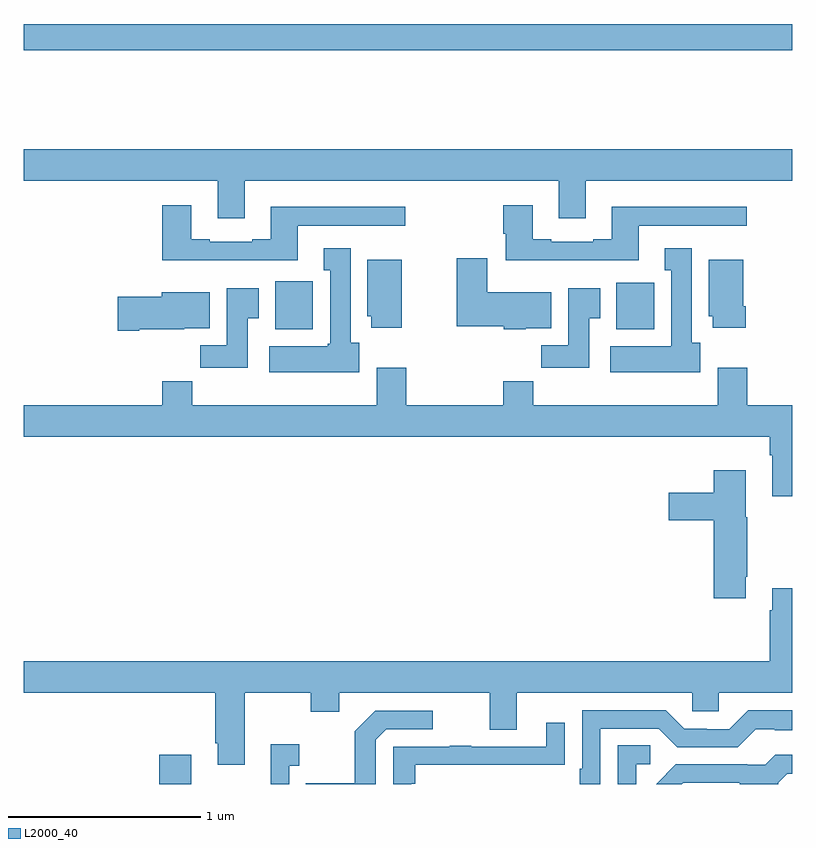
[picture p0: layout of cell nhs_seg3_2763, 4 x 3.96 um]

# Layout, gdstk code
import gdstk
lib = gdstk.Library(unit=1e-6, precision=1e-09)
def R(c, l, rs):  # rectangles x0, y0, x1, y1
    for r in rs: c.add(gdstk.rectangle(r[:2], r[2:], *l))
def P(c, l, *ps):  # polygons
    for p in ps: c.add(gdstk.Polygon(p, *l))
L2000_40 = (2000, 40)

nhs_seg3_2763 = lib.new_cell('nhs_seg3_2763')
R(nhs_seg3_2763, L2000_40, [(253.706,740.4,253.873,740.551), (254.309,742.766,254.505,743.017), (256.085,742.766,256.282,743.008), (253,744.22,257,744.356)])
P(nhs_seg3_2763, L2000_40, [(254.149,743.54),(255.785,743.54),(255.785,743.346),(255.925,743.346),(255.925,743.54),(257,743.54),(257,743.704),(253,743.704),(253,743.54),(254.009,743.54),(254.009,743.346),(254.149,743.346)],
  [(254.425,743.307),(254.986,743.307),(254.986,743.404),(254.285,743.404),(254.285,743.236),(254.189,743.236),(254.189,743.223),(253.969,743.223),(253.969,743.236),(253.873,743.236),(253.873,743.413),(253.721,743.413),(253.721,743.126),(254.425,743.126)],
  [(256.201,743.307),(256.762,743.307),(256.762,743.404),(256.061,743.404),(256.061,743.236),(255.965,743.236),(255.965,743.223),(255.745,743.223),(255.745,743.236),(255.649,743.236),(255.649,743.413),(255.497,743.413),(255.497,743.265),(255.509,743.265),(255.509,743.126),(256.201,743.126)],
  [(256.522,742.698),(256.477,742.698),(256.477,743.188),(256.337,743.188),(256.337,743.075),(256.37,743.075),(256.37,742.678),(256.053,742.678),(256.053,742.544),(256.522,742.544)],
  [(254.746,742.698),(254.701,742.698),(254.701,743.188),(254.561,743.188),(254.561,743.075),(254.594,743.075),(254.594,742.692),(254.581,742.692),(254.581,742.678),(254.277,742.678),(254.277,742.544),(254.746,742.544)],
  [(255.612,742.772),(255.745,742.772),(255.745,742.96),(255.412,742.96),(255.412,743.137),(255.254,743.137),(255.254,742.784),(255.498,742.784),(255.498,742.766),(255.612,742.766)],
  [(256.757,742.888),(256.744,742.888),(256.744,743.128),(256.565,743.128),(256.565,742.836),(256.586,742.836),(256.586,742.776),(256.757,742.776)],
  [(254.968,743.128),(254.789,743.128),(254.789,742.836),(254.81,742.836),(254.81,742.776),(254.968,742.776)],
  [(255.943,742.825),(256,742.825),(256,742.981),(255.833,742.981),(255.833,742.684),(255.694,742.684),(255.694,742.566),(255.943,742.566)],
  [(254.167,742.825),(254.224,742.825),(254.224,742.981),(254.057,742.981),(254.057,742.684),(253.918,742.684),(253.918,742.566),(254.167,742.566)],
  [(253.6,742.766),(253.836,742.766),(253.836,742.772),(253.969,742.772),(253.969,742.96),(253.718,742.96),(253.718,742.937),(253.488,742.937),(253.488,742.759),(253.6,742.759)],
  [(257,742.372),(256.766,742.372),(256.766,742.567),(256.613,742.567),(256.613,742.372),(255.653,742.372),(255.653,742.496),(255.497,742.496),(255.497,742.372),(254.99,742.372),(254.99,742.567),(254.837,742.567),(254.837,742.372),(253.877,742.372),(253.877,742.496),(253.721,742.496),(253.721,742.372),(253,742.372),(253,742.208),(256.883,742.208),(256.883,742.112),(256.895,742.112),(256.895,741.897),(257,741.897)],
  [(256.759,741.478),(256.767,741.478),(256.767,741.789),(256.759,741.789),(256.759,742.033),(256.592,742.033),(256.592,741.915),(256.356,741.915),(256.356,741.773),(256.592,741.773),(256.592,741.366),(256.759,741.366)],
  [(253,740.876),(253.997,740.876),(253.997,740.611),(254.009,740.611),(254.009,740.499),(254.149,740.499),(254.149,740.876),(254.494,740.876),(254.494,740.777),(254.641,740.777),(254.641,740.876),(255.425,740.876),(255.425,740.682),(255.565,740.682),(255.565,740.876),(256.479,740.876),(256.479,740.778),(256.617,740.778),(256.617,740.876),(257,740.876),(257,741.418),(256.895,741.418),(256.895,741.305),(256.883,741.305),(256.883,741.04),(253,741.04)],
  [(256.002,740.688),(256.305,740.688),(256.401,740.592),(256.716,740.592),(256.809,740.685),(256.909,740.685),(256.909,740.681),(257,740.681),(257,740.785),(256.771,740.785),(256.671,740.685),(256.556,740.685),(256.556,740.688),(256.437,740.688),(256.341,740.784),(255.906,740.784),(255.906,740.479),(255.893,740.479),(255.893,740.4),(256.002,740.4)],
  [(254.832,740.631),(254.886,740.685),(255.13,740.685),(255.13,740.781),(254.829,740.781),(254.724,740.675),(254.724,740.403),(254.467,740.403),(254.467,740.4),(254.832,740.4)],
  [(255.018,740.402),(255.038,740.402),(255.038,740.499),(255.713,740.499),(255.713,740.5),(255.815,740.5),(255.815,740.719),(255.719,740.719),(255.719,740.595),(255.329,740.595),(255.329,740.6),(255.217,740.6),(255.217,740.595),(254.922,740.595),(254.922,740.4),(255.018,740.4)],
  [(254.382,740.495),(254.434,740.495),(254.434,740.608),(254.285,740.608),(254.285,740.4),(254.382,740.4)],
  [(256.188,740.502),(256.261,740.502),(256.261,740.603),(256.092,740.603),(256.092,740.4),(256.188,740.4)],
  [(256.432,740.406),(256.727,740.406),(256.727,740.4),(256.927,740.4),(256.927,740.407),(256.974,740.454),(257,740.454),(257,740.551),(256.912,740.551),(256.86,740.499),(256.766,740.499),(256.766,740.502),(256.394,740.502),(256.292,740.4),(256.426,740.4)])

lib.write_gds('nhs_seg3_2763.gds')
